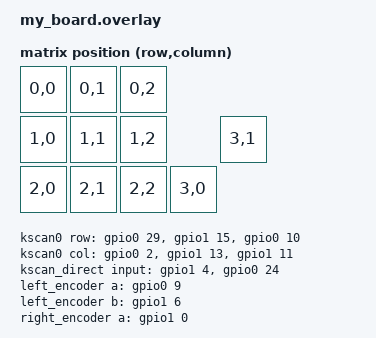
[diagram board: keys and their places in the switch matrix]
#include <zephyr/dt-bindings/mipi_dbi/mipi_dbi.h>
#include <dt-bindings/zmk/matrix_transform.h>
#include <physical_layouts.dtsi>
#include <zephyr/dt-bindings/led/led.h>

/ {
    chosen {
        zmk,kscan = &kscan_composite;
        zmk,physical-layout = &physical_layout0;
        zmk,underglow = &led_strip;
        zmk,display = &st7735;
        zephyr,display = &st7735;
    };

    kscan_composite: kscan_composite {
        compatible = "zmk,kscan-composite";
        matrix {
            kscan = <&kscan0>;
            row-offset = <0>;
            column-offset = <0>;
        };
        direct {
            kscan = <&kscan_direct>;
            row-offset = <3>;
            column-offset = <0>;
        };
    };

    kscan0: kscan_0 {
        compatible = "zmk,kscan-gpio-matrix";
        diode-direction = "col2row";
        wakeup-source;

        col-gpios
            = <&gpio0 2 GPIO_ACTIVE_HIGH>
            , <&gpio1 13 GPIO_ACTIVE_HIGH>
            , <&gpio1 11 GPIO_ACTIVE_HIGH>
            ;

        row-gpios
            = <&gpio0 29 (GPIO_ACTIVE_HIGH | GPIO_PULL_DOWN)>
            , <&gpio1 15 (GPIO_ACTIVE_HIGH | GPIO_PULL_DOWN)>
            , <&gpio0 10 (GPIO_ACTIVE_HIGH | GPIO_PULL_DOWN)>
            ;
    };

    kscan_direct: kscan_direct {
        compatible = "zmk,kscan-gpio-direct";
        wakeup-source;
        input-gpios
            = <&gpio1 4 (GPIO_ACTIVE_LOW | GPIO_PULL_UP)>
            , <&gpio0 24 (GPIO_ACTIVE_LOW | GPIO_PULL_UP)>
            ;
    };

    left_encoder: encoder_left {
        compatible = "alps,ec11";
        a-gpios = <&gpio0 9 (GPIO_ACTIVE_HIGH | GPIO_PULL_UP)>;
        b-gpios = <&gpio1 6 (GPIO_ACTIVE_HIGH | GPIO_PULL_UP)>;
        steps = <80>;
    };

    right_encoder: encoder_right {
        compatible = "alps,ec11";
        a-gpios = <&gpio1 0 (GPIO_ACTIVE_HIGH | GPIO_PULL_UP)>;
        b-gpios = <&gpio0 11 (GPIO_ACTIVE_HIGH | GPIO_PULL_UP)>;
        steps = <80>;
    };

    sensors: sensors {
        compatible = "zmk,keymap-sensors";
        sensors = <&left_encoder &right_encoder>;
        triggers-per-rotation = <20>;
    };

    default_transform: keymap_transform_0 {
        compatible = "zmk,matrix-transform";
        columns = <3>;
        rows = <4>;
        map = <
            RC(0,0) RC(0,1) RC(0,2)
            RC(1,0) RC(1,1) RC(1,2)
            RC(2,0) RC(2,1) RC(2,2)
            RC(3,0) RC(3,1)
        >;
    };

    physical_layout0: physical_layout_0 {
        compatible = "zmk,physical-layout";
        display-name = "Default Layout";
        transform = <&default_transform>;
        kscan = <&kscan_composite>;
        keys
            = <&key_physical_attrs 100 100 0 0 0 0 0>
            , <&key_physical_attrs 100 100 100 0 0 0 0>
            , <&key_physical_attrs 100 100 200 0 0 0 0>
            
            , <&key_physical_attrs 100 100 0 100 0 0 0>
            , <&key_physical_attrs 100 100 100 100 0 0 0>
            , <&key_physical_attrs 100 100 200 100 0 0 0>
            
            , <&key_physical_attrs 100 100 0 200 0 0 0>
            , <&key_physical_attrs 100 100 100 200 0 0 0>
            , <&key_physical_attrs 100 100 200 200 0 0 0>
            
            // Encoder switches (Right side)
            , <&key_physical_attrs 100 100 300 200 0 0 0> // Knob 1 (Volume, Bottom)
            , <&key_physical_attrs 100 100 400 100 0 0 0> // Knob 2 (PageUp/Down, Top)
            ;
    };

    /* 屏幕背光或供电使能引脚 */
    vcc_en {
        compatible = "regulator-fixed";
        regulator-name = "vcc_en";
        enable-gpios = <&gpio0 22 GPIO_ACTIVE_HIGH>;
        regulator-boot-on;
    };

    mipi_dbi {
        compatible = "zephyr,mipi-dbi-spi";
        spi-dev = <&spi1>;
        dc-gpios = <&gpio0 17 GPIO_ACTIVE_HIGH>;
        reset-gpios = <&gpio0 20 GPIO_ACTIVE_LOW>;
        #address-cells = <1>;
        #size-cells = <0>;

        st7735: st7735@0 {
            compatible = "sitronix,st7735r";
            mipi-max-frequency = <4000000>;
            mipi-mode = "MIPI_DBI_MODE_SPI_4WIRE";
            reg = <0>;
            width = <160>;
            height = <80>;
            x-offset = <0>;
            y-offset = <24>;
            madctl = <0xA0>;
            colmod = <0x05>;
            vmctr1 = <0x0e>;
            pwctr1 = [a2 02 84];
            pwctr2 = [c5];
            pwctr3 = [0a 00];
            pwctr4 = [8a 2a];
            pwctr5 = [8a ee];
            frmctr1 = [01 2c 2d];
            frmctr2 = [01 2c 2d];
            frmctr3 = [01 2c 2d 01 2c 2d];
            gamctrp1 = [02 1c 07 12 37 32 29 2d 29 25 2b 39 00 01 03 10];
            gamctrn1 = [03 1d 07 06 2e 2c 29 2d 2e 2e 37 3f 00 00 02 10];
        };
    };
};

&pinctrl {
    spi1_default: spi1_default {
        group1 {
            psels = <NRF_PSEL(SPIM_SCK, 0, 6)>,
                    <NRF_PSEL(SPIM_MOSI, 0, 8)>;
        };
    };
    spi1_sleep: spi1_sleep {
        group1 {
            psels = <NRF_PSEL(SPIM_SCK, 0, 6)>,
                    <NRF_PSEL(SPIM_MOSI, 0, 8)>;
            low-power-enable;
        };
    };
    spi3_default: spi3_default {
        group1 {
            psels = <NRF_PSEL(SPIM_MOSI, 0, 31)>;
        };
    };
    spi3_sleep: spi3_sleep {
        group1 {
            psels = <NRF_PSEL(SPIM_MOSI, 0, 31)>;
            low-power-enable;
        };
    };
};

&spi3 {
    compatible = "nordic,nrf-spim";
    status = "okay";
    pinctrl-0 = <&spi3_default>;
    pinctrl-1 = <&spi3_sleep>;
    pinctrl-names = "default", "sleep";

    led_strip: ws2812@0 {
        compatible = "worldsemi,ws2812-spi";
        reg = <0>;
        spi-max-frequency = <4000000>;
        chain-length = <9>; // 9颗 WS2812
        spi-one-frame = <0x70>;
        spi-zero-frame = <0x40>;
        color-mapping = <LED_COLOR_ID_GREEN
                         LED_COLOR_ID_RED
                         LED_COLOR_ID_BLUE>;
    };
};

&spi1 {
    compatible = "nordic,nrf-spim";
    status = "okay";
    pinctrl-0 = <&spi1_default>;
    pinctrl-1 = <&spi1_sleep>;
    pinctrl-names = "default", "sleep";
    cs-gpios = <&gpio1 1 GPIO_ACTIVE_LOW>;
};
